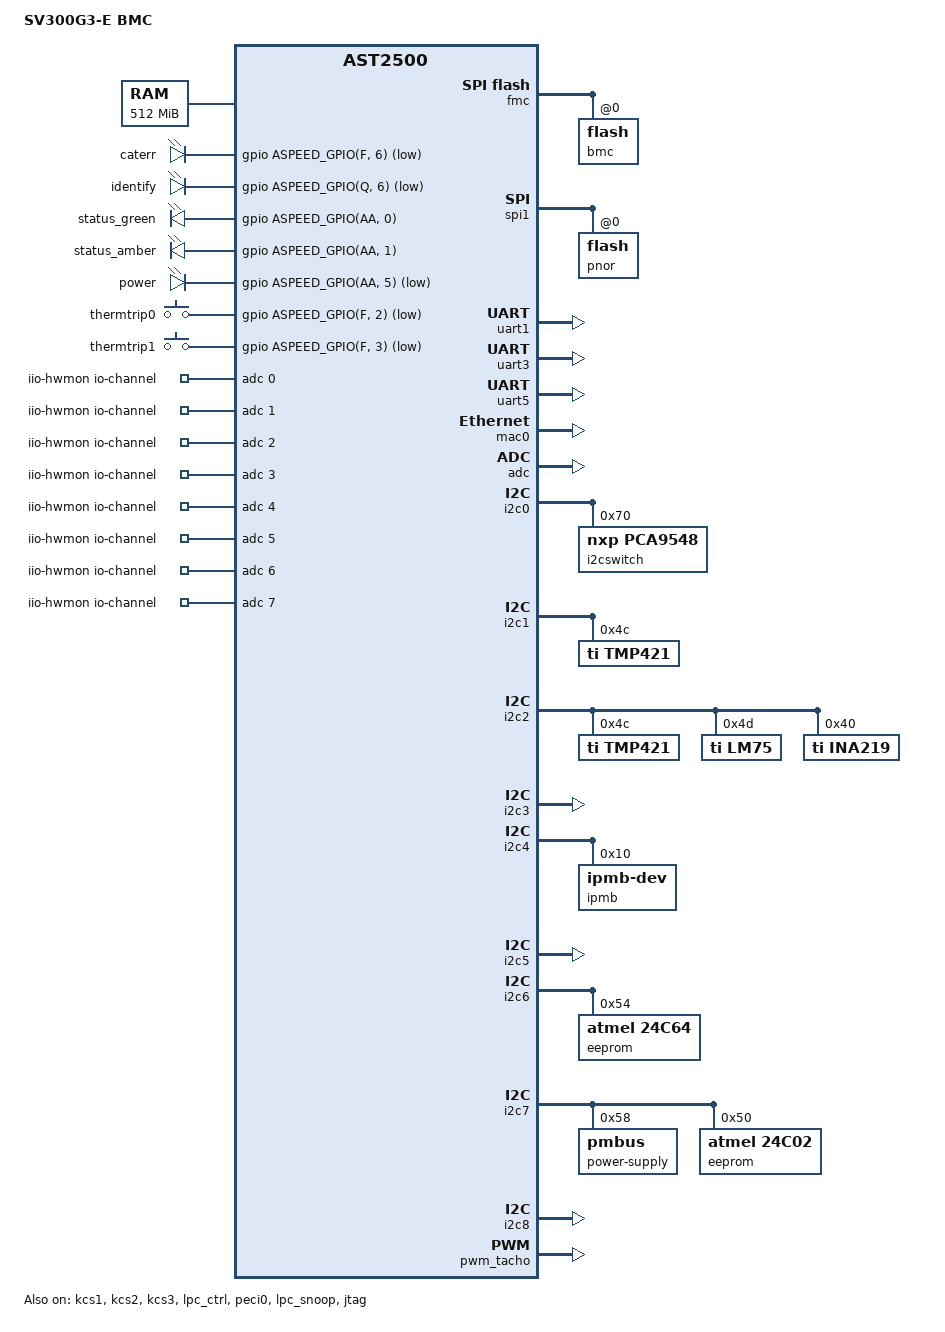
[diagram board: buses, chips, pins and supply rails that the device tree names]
// SPDX-License-Identifier: GPL-2.0+
// Copyright (c) 2019 Wiwynn Inc.
/dts-v1/;

#include "aspeed-g5.dtsi"
#include <dt-bindings/gpio/aspeed-gpio.h>

/ {
	model = "SV300G3-E BMC";
	compatible = "wiwynn,sv300g3e-bmc", "aspeed,ast2500";
	aliases {
		serial0 = &uart1;
		serial4 = &uart5;
	};
	chosen {
		stdout-path = &uart5;
		bootargs = "console=ttyS4,115200 earlyprintk";
	};

	memory@80000000 {
		reg = <0x80000000 0x20000000>;
	};
	reserved-memory {
		#address-cells = <1>;
		#size-cells = <1>;
		ranges;

		flash_memory: region@98000000 {
            no-map;
            reg = <0x98000000 0x04000000>; /* 64M */
        };

		vga_memory: framebuffer@7f000000 {
			no-map;
			reg = <0x7f000000 0x01000000>;
		};
        safs_memory: region@30000000 {
            no-map;
            reg = <0x30000000 0x08000000>; /* 128M */
        };

        gfx_memory: framebuffer {
            size = <0x04000000>;
            alignment = <0x01000000>;
            compatible = "shared-dma-pool";
            reusable;
        };
	};

	leds {
		compatible = "gpio-leds";

		caterr {
			gpios = <&gpio ASPEED_GPIO(F, 6) GPIO_ACTIVE_LOW>;
			default-state = "off";
		};

		identify {
			gpios = <&gpio ASPEED_GPIO(Q, 6) GPIO_ACTIVE_LOW>;
		};

		status_green {
			gpios = <&gpio ASPEED_GPIO(AA, 0) GPIO_ACTIVE_HIGH>;
			default-state = "off";
		};

		status_amber {
			gpios = <&gpio ASPEED_GPIO(AA, 1) GPIO_ACTIVE_HIGH>;
			default-state = "on";
		};

		power {
			gpios = <&gpio ASPEED_GPIO(AA, 5) GPIO_ACTIVE_LOW>;
		};
	};

	gpio-keys {
		compatible = "gpio-keys";
/*
		id-button {
			label = "id-button";
			gpios = <&gpio ASPEED_GPIO(X, 4) GPIO_ACTIVE_LOW>;
			linux,code = <ASPEED_GPIO(X, 4)>;
		};
		 end-of-post {
			 label = "end-of-post";
			 gpios = <&gpio ASPEED_GPIO(A, 2) GPIO_ACTIVE_LOW>;
			 linux,code = <ASPEED_GPIO(A, 2)>;
		};
*/
/*
		prochot0 {
			label = "prochot0";
			gpios = <&gpio ASPEED_GPIO(C, 6) GPIO_ACTIVE_LOW>;
			linux,code = <ASPEED_GPIO(C, 6)>;
		};
		prochot1 {
			label = "prochot1";
			gpios = <&gpio ASPEED_GPIO(C, 7) GPIO_ACTIVE_LOW>;
			linux,code = <ASPEED_GPIO(C, 7)>;
		};
*/
		thermtrip0 {
			label = "thermtrip0";
			gpios = <&gpio ASPEED_GPIO(F, 2) GPIO_ACTIVE_LOW>;
			linux,code = <ASPEED_GPIO(F, 2)>;
		};
		thermtrip1 {
			label = "thermtrip1";
			gpios = <&gpio ASPEED_GPIO(F, 3) GPIO_ACTIVE_LOW>;
			linux,code = <ASPEED_GPIO(F, 3)>;
		};

	};

	iio-hwmon {
		compatible = "iio-hwmon";
		io-channels = <&adc 0>, <&adc 1>, <&adc 2>, <&adc 3>,
					<&adc 4>, <&adc 5>, <&adc 6>, <&adc 7>, <&adc 8>;
	};
/*
	iio-hwmon-battery {
		compatible = "iio-hwmon";
		io-channels = <&adc 7>;
	};
*/
};

&fmc {
	status = "okay";
	flash@0 {
		status = "okay";
		m25p,fast-read;
		label = "bmc";
// #include "openbmc-flash-layout.dtsi"
		#include "openbmc-flash-layout-64M.dtsi"
	};
};

&spi1 {
	status = "okay";
	pinctrl-names = "default";
	pinctrl-0 = <&pinctrl_spi1_default>;
	flash@0 {
		status = "okay";
		m25p,fast-read;
		label = "pnor";
	};
};

&uart1 {
	status = "okay";
	pinctrl-names = "default";
	pinctrl-0 = <&pinctrl_txd1_default
		     &pinctrl_rxd1_default>;
};

&uart3 {
	status = "okay";
};

&uart5 {
	// BMC Console
	status = "okay";
};

&kcs1 {
	// BMC KCS channel 1
	status = "okay";
	kcs_addr = <0xca0>;
};

&kcs2 {
	// BMC KCS channel 2
	status = "okay";
	kcs_addr = <0xca8>;
};

&kcs3 {
	// BMC KCS channel 3
	status = "okay";
	kcs_addr = <0xca2>;
};

&mac0 {
	status = "okay";

	pinctrl-names = "default";
	pinctrl-0 = <&pinctrl_rgmii1_default &pinctrl_mdio1_default>;
};

/*
&mac1 {
	pntctrl-names = "default";
	pinctrl-0 = <&pinctrl_rmii2_default>;
	use-ncsi;
};
*/

&adc {
	status = "okay";
};

&i2c0 {
	status = "okay";
	i2cswitch@70{
		compatible = "nxp,pca9548";
		reg = <0x70>;
	};
};

&i2c1 {
	status = "okay";

    /* Blade Outlet */
	tmp421@4c {
		compatible = "ti,tmp421";
		reg = <0x4c>;
	};
};

&i2c2 {
	status = "okay";

    /* Blade Inlet  */
    tmp421@4c {
        compatible = "ti,tmp421";
        reg = <0x4c>;
    };

    /* FP Temp */
    lm75@4d {
        compatible = "ti,lm75";
        reg = <0x4d>;
    };

	/* Fan Power */
    ina219@40 {
        compatible = "ti,ina219";
        reg = <0x40>;
        shunt-resistor = <2000>;
    };
};

&i2c3 {
	status = "okay";
};

&i2c4 {
	multi-master =<1>;
	status = "okay";
	ipmb@10 {
		compatible = "ipmb-dev";
		reg = <0x10>;
		i2c-protocol;
	};
};

&i2c5 {
	status = "okay";
};

&i2c6 {
	status = "okay";
	eeprom@54 {
		compatible = "atmel,24c64";
		reg = <0x54>;
		pagesize = <32>;
	};
};

&i2c7 {
	status = "okay";
	power-supply@58{
        compatible = "pmbus";
        reg = <0x58>;
    };

    eeprom@50 {
        compatible = "atmel,24c02";
        reg = <0x50>;
    };
};

&i2c8 {
	status = "okay";
};

&pwm_tacho {
	status = "okay";
	pinctrl-names = "default";
	pinctrl-0 = <&pinctrl_pwm0_default
	             &pinctrl_pwm1_default
				 &pinctrl_pwm2_default
				 &pinctrl_pwm3_default
				 &pinctrl_pwm4_default
				 &pinctrl_pwm5_default>;
	fan@0 {
		reg = <0x00>;
		aspeed,fan-tach-ch = /bits/ 8 <0x00>;
	};

	fan@1 {
		reg = <0x00>;
		aspeed,fan-tach-ch = /bits/ 8 <0x01>;
	};

	fan@2 {
		reg = <0x01>;
		aspeed,fan-tach-ch = /bits/ 8 <0x02>;
	};

	fan@3 {
		reg = <0x01>;
		aspeed,fan-tach-ch = /bits/ 8 <0x03>;
	};

	fan@4 {
		reg = <0x02>;
		aspeed,fan-tach-ch = /bits/ 8 <0x04>;
	};

	fan@5 {
		reg = <0x02>;
		aspeed,fan-tach-ch = /bits/ 8 <0x05>;
	};

	fan@6 {
		reg = <0x03>;
		aspeed,fan-tach-ch = /bits/ 8 <0x06>;
	};

	fan@7 {
		reg = <0x03>;
		aspeed,fan-tach-ch = /bits/ 8 <0x07>;
	};

	fan@8 {
		reg = <0x04>;
		aspeed,fan-tach-ch = /bits/ 8 <0x08>;
	};

	fan@9 {
		reg = <0x04>;
		aspeed,fan-tach-ch = /bits/ 8 <0x09>;
	};

	fan@10 {
		reg = <0x05>;
		aspeed,fan-tach-ch = /bits/ 8 <0x0a>;
	};

	fan@11 {
		reg = <0x05>;
		aspeed,fan-tach-ch = /bits/ 8 <0x0b>;
	};
};

&lpc_ctrl {
    status = "okay";
    memory-region = <&flash_memory>;
    flash = <&spi1>;
};

&peci0 {
    status = "okay";
	msg-timing = <5>;
	addr-timing = <5>;
};

&lpc_snoop {
    status = "okay";
    snoop-ports = <0x80>;
};

&jtag {
    status = "okay";
};

&gpio {
   status = "okay";
   gpio-line-names =
   /*A0-A7*/   "","","","","","","","",
   /*B0-B7*/   "","","","","","","","",
   /*C0-C7*/   "","","RSMRST_N","PWR_DEBUG_N","","","","",
   /*D0-D7*/   "DEBUG_EN_N","","","","","","","",
   /*E0-E7*/   "","","","","","","","TCK_MUX_SEL",
   /*F0-F7*/   "","","","","","","","",
   /*G0-G7*/   "","","","","","","","",
   /*H0-H7*/   "","","","","","","","",
   /*I0-I7*/   "","","","","","","","",
   /*J0-J7*/   "","","","","","","","",
   /*K0-K7*/   "","","","","","","","",
   /*L0-L7*/   "","","","","","","","",
   /*M0-M7*/   "PREQ_N","PRDY_N","","","","","XDP_PRST_N","",
   /*N0-N7*/   "","","","","","","","",
   /*O0-O7*/   "","","","","","","","",
   /*P0-P7*/   "","","","","","","","",
   /*Q0-Q7*/   "","","","","","","","",
   /*R0-R7*/   "","","","","","","","",
   /*S0-S7*/   "","","","","","","","",
   /*T0-T7*/   "","","","","","","","",
   /*U0-U7*/   "","","","","","","","",
   /*V0-V7*/   "","","","","","","","",
   /*W0-W7*/   "","","","","","","","",
   /*X0-X7*/   "","","","","","","","",
   /*Y0-Y7*/   "","SYSPWROK","","","","","","",
   /*Z0-Z7*/   "","","","","","","","",
   /*AA0-AA7*/ "","","","","","","","",
   /*AB0-AB7*/ "","","","","","","","",
   /*AC0-AC7*/ "","","","","","","","";
};
